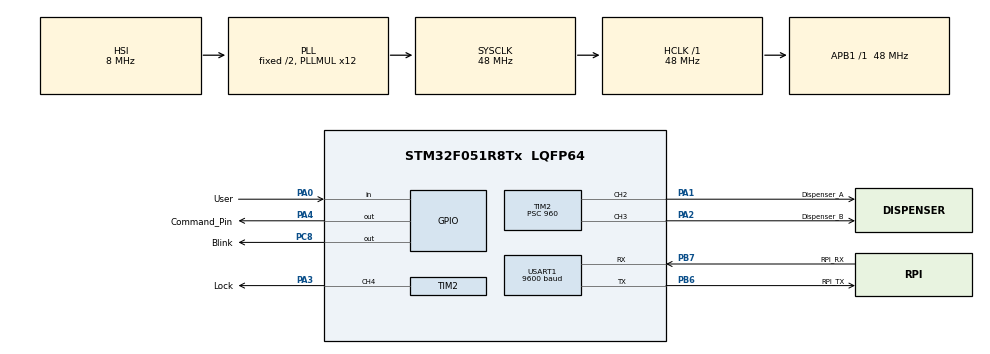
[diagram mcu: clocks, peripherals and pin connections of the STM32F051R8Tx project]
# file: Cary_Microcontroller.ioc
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Mcu.Family=STM32F0
Mcu.Name=STM32F051R8Tx
Mcu.Package=LQFP64
NVIC.USART1_IRQn=true\:0\:0\:false\:false\:true\:true\:true\:true
PA0.GPIO_Label=User
PA0.GPIO_PuPd=GPIO_NOPULL
PA0.Signal=GPIO_Input
PA1.GPIO_Label=Dispenser_A
PA1.Signal=S_TIM2_CH2
PA13.GPIO_Label=SWDIO
PA13.Mode=Serial_Wire
PA13.Signal=SYS_SWDIO
PA14.GPIO_Label=SWCLK
PA14.Mode=Serial_Wire
PA14.Signal=SYS_SWCLK
PA2.GPIO_Label=Dispenser_B
PA2.Signal=S_TIM2_CH3
PA3.GPIO_Label=Lock
PA3.Signal=S_TIM2_CH4
PA4.GPIO_Label=Command_Pin
PA4.PinState=GPIO_PIN_RESET
PA4.Signal=GPIO_Output
PB6.GPIO_Label=RPI_TX
PB6.Mode=Asynchronous
PB6.Signal=USART1_TX
PB7.GPIO_Label=RPI_RX
PB7.Mode=Asynchronous
PB7.Signal=USART1_RX
PC8.GPIO_Label=Blink
PC8.GPIO_PuPd=GPIO_NOPULL
PC8.GPIO_Speed=GPIO_SPEED_FREQ_HIGH
PC8.PinState=GPIO_PIN_SET
PC8.Signal=GPIO_Output
ProjectManager.HeapSize=0x200
ProjectManager.StackSize=0x400
ProjectManager.TargetToolchain=STM32CubeIDE
RCC.AHBFreq_Value=48000000
RCC.APB1Freq_Value=48000000
RCC.APB1TimFreq_Value=48000000
RCC.HCLKFreq_Value=48000000
RCC.PLLMUL=RCC_PLL_MUL12
RCC.SYSCLKFreq_VALUE=48000000
RCC.SYSCLKSource=RCC_SYSCLKSOURCE_PLLCLK
SH.S_TIM2_CH2.0=TIM2_CH2,PWM Generation2 CH2
SH.S_TIM2_CH3.0=TIM2_CH3,PWM Generation3 CH3
SH.S_TIM2_CH4.0=TIM2_CH4,PWM Generation4 CH4
TIM2.AutoReloadPreload=TIM_AUTORELOAD_PRELOAD_ENABLE
TIM2.Channel-PWM\ Generation2\ CH2=TIM_CHANNEL_2
TIM2.Channel-PWM\ Generation3\ CH3=TIM_CHANNEL_3
TIM2.Channel-PWM\ Generation4\ CH4=TIM_CHANNEL_4
TIM2.Period=1000
TIM2.Prescaler=960
USART1.BaudRate=9600
USART1.VirtualMode-Asynchronous=VM_ASYNC
VP_TIM2_VS_ClockSourceINT.Mode=Internal
board=STM32F0DISCOVERY

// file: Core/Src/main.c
/* USER CODE BEGIN Header */
/**
  ******************************************************************************
  * @file           : main.c
  * @brief          : Main program body
  ******************************************************************************
  * @attention
  *
  * Copyright (c) 2023 STMicroelectronics.
  * All rights reserved.
  *
  * This software is licensed under terms that can be found in the LICENSE file
  * in the root directory of this software component.
  * If no LICENSE file comes with this software, it is provided AS-IS.
  *
  ******************************************************************************
  */
/* USER CODE END Header */
#include "main.h"

/* USER CODE BEGIN PD */
#define ACTION_INDEX 0
#define AMOUNT_INDEX 1
#define BUFFER_SIZE 2
/* USER CODE END PD */

/* USER CODE BEGIN PM */
#define COMPUTE_SIZE(_BUFFER_) sizeof(_BUFFER_) / sizeof(*(_BUFFER_))
/* USER CODE END PM */

TIM_HandleTypeDef htim2;

UART_HandleTypeDef huart1;

/* USER CODE BEGIN PV */
uint8_t RXbuffer[BUFFER_SIZE] = {0x00};
#define RXsize COMPUTE_SIZE(RXbuffer)
/* USER CODE END PV */

void SystemClock_Config(void);
static void MX_GPIO_Init(void);
static void MX_TIM2_Init(void);
static void MX_USART1_UART_Init(void);

/* USER CODE BEGIN 0 */
#define pwm_size 5
float dispenser_a_pwms[pwm_size] = { 40.25 , 62.75 , 85.25 , 107.75 , 24.0};
float dispenser_b_pwms[pwm_size] = { 107.75 , 85.25 , 62.75 , 40.25 , 24.0};
float toggle_pwms[2] = { 24 , 74}; // {open , close}
uint8_t action = 0x00;
uint8_t amount = 0x00;
uint8_t command_flag = 0x00;

void HAL_UART_RxCpltCallback(UART_HandleTypeDef *huart)
{
  action = RXbuffer[ACTION_INDEX];
  amount = RXbuffer[AMOUNT_INDEX];
  uint8_t local_action = action;
  uint8_t local_amount = amount;
  HAL_GPIO_WritePin(Command_Pin_GPIO_Port, Command_Pin_Pin, GPIO_PIN_SET);
  command_flag = 0x01;
}
/* USER CODE END 0 */

int main(void)
{

  /* MCU Configuration--------------------------------------------------------*/

  /* Reset of all peripherals, Initializes the Flash interface and the Systick. */
  HAL_Init();

  /* Configure the system clock */
  SystemClock_Config();

  /* Initialize all configured peripherals */
  MX_GPIO_Init();
  MX_TIM2_Init();
  MX_USART1_UART_Init();
  /* USER CODE BEGIN 2 */
  HAL_TIM_Base_Start(&htim2);
  HAL_TIM_PWM_Start(&htim2,TIM_CHANNEL_2);
  HAL_TIM_PWM_Start(&htim2,TIM_CHANNEL_3);
  HAL_TIM_PWM_Start(&htim2,TIM_CHANNEL_4);
  __HAL_TIM_SetCompare(&htim2, TIM_CHANNEL_2, toggle_pwms[0]);
  __HAL_TIM_SetCompare(&htim2, TIM_CHANNEL_3, toggle_pwms[0]);
  __HAL_TIM_SetCompare(&htim2, TIM_CHANNEL_4, toggle_pwms[0]);
  HAL_UART_Receive_IT(&huart1, RXbuffer, RXsize);
  /* USER CODE END 2 */

  /* Infinite loop */
  while (1)
  {

    /* USER CODE BEGIN 3 */
	  if (command_flag != 0x00)
	  {
		  HAL_Delay(250);
		  if (action >= 0x00 && action <= 0x03)
		  {
			  /*
			   * 0x00 = Slot 1 Chamber 1
			   * 0x01 = Slot 2 Chamber 2
			   * 0x02 = Slot 3 Chamber 3
			   * 0x03 = Slot 4 Chamber 4
			   */
			  __HAL_TIM_SetCompare(&htim2 , TIM_CHANNEL_2 , dispenser_a_pwms[action % 4]);
			  HAL_Delay(500 * amount);
			  __HAL_TIM_SetCompare(&htim2 , TIM_CHANNEL_2 , dispenser_a_pwms[pwm_size - 1]);
		  }
		  if (action >= 0x04 && action <= 0x07)
		  {
			  /*
			   * 0x04 = Slot 1 Chamber 2
			   * 0x05 = Slot 2 Chamber 2
			   * 0x06 = Slot 3 Chamber 2
			   * 0x07 = Slot 4 Chamber 2
			   */
			  __HAL_TIM_SetCompare(&htim2 , TIM_CHANNEL_3 , dispenser_b_pwms[action % 4]);
			  HAL_Delay(500 * amount);
			  __HAL_TIM_SetCompare(&htim2 , TIM_CHANNEL_3 , dispenser_b_pwms[pwm_size - 1]);
		  }
		  if (action == 0x08)
		  {
			  /*
			   * 0x08 = Interact Medicine Chambers
			   */
			  __HAL_TIM_SetCompare(&htim2 , TIM_CHANNEL_2 , toggle_pwms[amount]);
			  __HAL_TIM_SetCompare(&htim2 , TIM_CHANNEL_3 , toggle_pwms[amount]);
		  }
		  if (action == 0x09)
		  {
			  /*
			   * 0x09 = Interact Medicine Tray
			   */
			  __HAL_TIM_SetCompare(&htim2 , TIM_CHANNEL_4 , toggle_pwms[amount]);
		  }
		  RXbuffer[ACTION_INDEX] = 0x00;
		  RXbuffer[AMOUNT_INDEX] = 0x00;
		  command_flag = 0x00;
		  HAL_GPIO_WritePin(Command_Pin_GPIO_Port, Command_Pin_Pin, GPIO_PIN_RESET);
		  HAL_UART_Receive_IT(&huart1, RXbuffer, RXsize);
	  }
	  //HAL_Delay(250);
  }
  /* USER CODE END 3 */
}

void SystemClock_Config(void)
{
  RCC_OscInitTypeDef RCC_OscInitStruct = {0};
  RCC_ClkInitTypeDef RCC_ClkInitStruct = {0};
  RCC_PeriphCLKInitTypeDef PeriphClkInit = {0};

  /** Initializes the RCC Oscillators according to the specified parameters
  * in the RCC_OscInitTypeDef structure.
  */
  RCC_OscInitStruct.OscillatorType = RCC_OSCILLATORTYPE_HSI;
  RCC_OscInitStruct.HSIState = RCC_HSI_ON;
  RCC_OscInitStruct.HSICalibrationValue = RCC_HSICALIBRATION_DEFAULT;
  RCC_OscInitStruct.PLL.PLLState = RCC_PLL_ON;
  RCC_OscInitStruct.PLL.PLLSource = RCC_PLLSOURCE_HSI;
  RCC_OscInitStruct.PLL.PLLMUL = RCC_PLL_MUL12;
  RCC_OscInitStruct.PLL.PREDIV = RCC_PREDIV_DIV1;
  if (HAL_RCC_OscConfig(&RCC_OscInitStruct) != HAL_OK)
  {
    Error_Handler();
  }

  /** Initializes the CPU, AHB and APB buses clocks
  */
  RCC_ClkInitStruct.ClockType = RCC_CLOCKTYPE_HCLK|RCC_CLOCKTYPE_SYSCLK
                              |RCC_CLOCKTYPE_PCLK1;
  RCC_ClkInitStruct.SYSCLKSource = RCC_SYSCLKSOURCE_PLLCLK;
  RCC_ClkInitStruct.AHBCLKDivider = RCC_SYSCLK_DIV1;
  RCC_ClkInitStruct.APB1CLKDivider = RCC_HCLK_DIV1;

  if (HAL_RCC_ClockConfig(&RCC_ClkInitStruct, FLASH_LATENCY_1) != HAL_OK)
  {
    Error_Handler();
  }
  PeriphClkInit.PeriphClockSelection = RCC_PERIPHCLK_USART1;
  PeriphClkInit.Usart1ClockSelection = RCC_USART1CLKSOURCE_PCLK1;
  if (HAL_RCCEx_PeriphCLKConfig(&PeriphClkInit) != HAL_OK)
  {
    Error_Handler();
  }
}

static void MX_TIM2_Init(void)
{

  TIM_ClockConfigTypeDef sClockSourceConfig = {0};
  TIM_MasterConfigTypeDef sMasterConfig = {0};
  TIM_OC_InitTypeDef sConfigOC = {0};

  htim2.Instance = TIM2;
  htim2.Init.Prescaler = 960;
  htim2.Init.CounterMode = TIM_COUNTERMODE_UP;
  htim2.Init.Period = 1000;
  htim2.Init.ClockDivision = TIM_CLOCKDIVISION_DIV1;
  htim2.Init.AutoReloadPreload = TIM_AUTORELOAD_PRELOAD_ENABLE;
  if (HAL_TIM_Base_Init(&htim2) != HAL_OK)
  {
    Error_Handler();
  }
  sClockSourceConfig.ClockSource = TIM_CLOCKSOURCE_INTERNAL;
  if (HAL_TIM_ConfigClockSource(&htim2, &sClockSourceConfig) != HAL_OK)
  {
    Error_Handler();
  }
  if (HAL_TIM_PWM_Init(&htim2) != HAL_OK)
  {
    Error_Handler();
  }
  sMasterConfig.MasterOutputTrigger = TIM_TRGO_RESET;
  sMasterConfig.MasterSlaveMode = TIM_MASTERSLAVEMODE_DISABLE;
  if (HAL_TIMEx_MasterConfigSynchronization(&htim2, &sMasterConfig) != HAL_OK)
  {
    Error_Handler();
  }
  sConfigOC.OCMode = TIM_OCMODE_PWM1;
  sConfigOC.Pulse = 0;
  sConfigOC.OCPolarity = TIM_OCPOLARITY_HIGH;
  sConfigOC.OCFastMode = TIM_OCFAST_DISABLE;
  if (HAL_TIM_PWM_ConfigChannel(&htim2, &sConfigOC, TIM_CHANNEL_2) != HAL_OK)
  {
    Error_Handler();
  }
  if (HAL_TIM_PWM_ConfigChannel(&htim2, &sConfigOC, TIM_CHANNEL_3) != HAL_OK)
  {
    Error_Handler();
  }
  if (HAL_TIM_PWM_ConfigChannel(&htim2, &sConfigOC, TIM_CHANNEL_4) != HAL_OK)
  {
    Error_Handler();
  }
  HAL_TIM_MspPostInit(&htim2);

}

static void MX_USART1_UART_Init(void)
{

  huart1.Instance = USART1;
  huart1.Init.BaudRate = 9600;
  huart1.Init.WordLength = UART_WORDLENGTH_8B;
  huart1.Init.StopBits = UART_STOPBITS_1;
  huart1.Init.Parity = UART_PARITY_NONE;
  huart1.Init.Mode = UART_MODE_TX_RX;
  huart1.Init.HwFlowCtl = UART_HWCONTROL_NONE;
  huart1.Init.OverSampling = UART_OVERSAMPLING_16;
  huart1.Init.OneBitSampling = UART_ONE_BIT_SAMPLE_DISABLE;
  huart1.AdvancedInit.AdvFeatureInit = UART_ADVFEATURE_NO_INIT;
  if (HAL_UART_Init(&huart1) != HAL_OK)
  {
    Error_Handler();
  }

}

static void MX_GPIO_Init(void)
{
  GPIO_InitTypeDef GPIO_InitStruct = {0};

  /* GPIO Ports Clock Enable */
  __HAL_RCC_GPIOA_CLK_ENABLE();
  __HAL_RCC_GPIOC_CLK_ENABLE();
  __HAL_RCC_GPIOB_CLK_ENABLE();

  /*Configure GPIO pin Output Level */
  HAL_GPIO_WritePin(Command_Pin_GPIO_Port, Command_Pin_Pin, GPIO_PIN_RESET);

  /*Configure GPIO pin Output Level */
  HAL_GPIO_WritePin(Blink_GPIO_Port, Blink_Pin, GPIO_PIN_SET);

  /*Configure GPIO pin : User_Pin */
  GPIO_InitStruct.Pin = User_Pin;
  GPIO_InitStruct.Mode = GPIO_MODE_INPUT;
  GPIO_InitStruct.Pull = GPIO_NOPULL;
  HAL_GPIO_Init(User_GPIO_Port, &GPIO_InitStruct);

  /*Configure GPIO pin : Command_Pin_Pin */
  GPIO_InitStruct.Pin = Command_Pin_Pin;
  GPIO_InitStruct.Mode = GPIO_MODE_OUTPUT_PP;
  GPIO_InitStruct.Pull = GPIO_NOPULL;
  GPIO_InitStruct.Speed = GPIO_SPEED_FREQ_LOW;
  HAL_GPIO_Init(Command_Pin_GPIO_Port, &GPIO_InitStruct);

  /*Configure GPIO pin : Blink_Pin */
  GPIO_InitStruct.Pin = Blink_Pin;
  GPIO_InitStruct.Mode = GPIO_MODE_OUTPUT_PP;
  GPIO_InitStruct.Pull = GPIO_NOPULL;
  GPIO_InitStruct.Speed = GPIO_SPEED_FREQ_HIGH;
  HAL_GPIO_Init(Blink_GPIO_Port, &GPIO_InitStruct);

}

void Error_Handler(void)
{
  __disable_irq();
  while (1)
  {
  }
}
